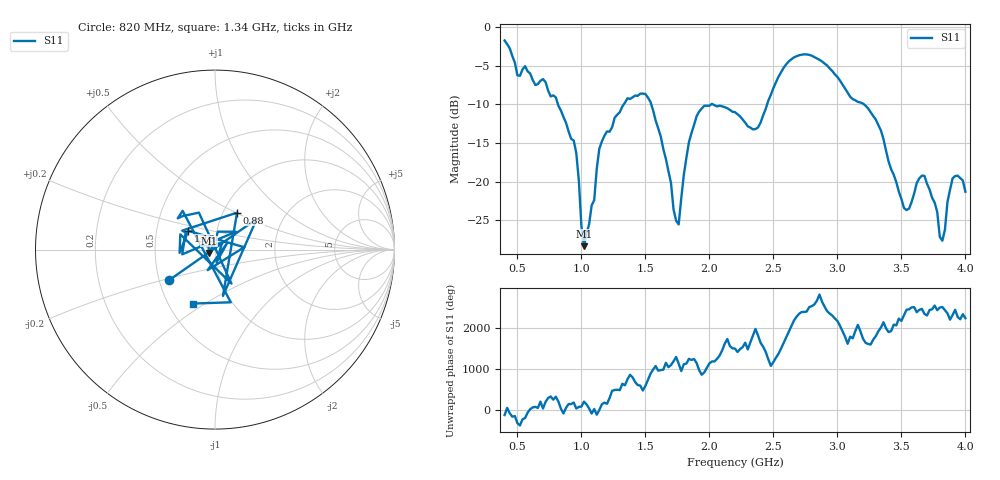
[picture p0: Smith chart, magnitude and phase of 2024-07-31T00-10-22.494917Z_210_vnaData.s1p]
!Created with skrf (http://scikit-rf.org).
# Hz S RI R 50.0
!freq ReS11 ImS11
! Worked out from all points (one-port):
!   181 points, 400 MHz to 4 GHz, reference 50 ohm
!   lowest |S11| = -28.4 dB at 1.02 GHz (marker M1), VSWR 1.08, Z = 46.7 - j1.72 ohm
!   |S11| at or under -10 dB: 816.8 MHz to 1.331 GHz (514.5 MHz wide, 47.9 % of centre); 1.546 GHz to 2.015 GHz (469 MHz wide, 26.3 % of centre); 3.207 GHz to end of sweep (the widest 3 of 4)
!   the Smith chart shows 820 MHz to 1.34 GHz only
!   S11 on the Smith chart (normalised r, x): 820 MHz: 0.56, -0.21; 880 MHz: 1.16, +0.51; 1.16 GHz: 0.73, +0.16; 1.34 GHz: 0.66, -0.45
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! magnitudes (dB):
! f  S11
! 400 MHz  -1.7
! 500 MHz  -6.2
! 700 MHz  -6.7
! 820 MHz  -10.2
! 860 MHz  -11.6
! 880 MHz  -12.4
! 960 MHz  -16.3
! 1.02 GHz  -28.4
! 1.1 GHz  -22.4
! 1.16 GHz  -14.8
! 1.3 GHz  -11.0
! 1.34 GHz  -9.8
! 1.54 GHz  -9.7
! 1.76 GHz  -25.5
! 1.84 GHz  -14.9
! 1.9 GHz  -11.5
! 2.2 GHz  -11.0
! 2.38 GHz  -13.0
! 2.66 GHz  -3.9
! 2.88 GHz  -4.5
! 3.1 GHz  -9.0
! 3.3 GHz  -12.0
! 3.52 GHz  -23.4
! 3.56 GHz  -23.5
! 3.68 GHz  -19.3
! 3.82 GHz  -27.6
! 3.9 GHz  -19.6
! 4 GHz  -21.3
